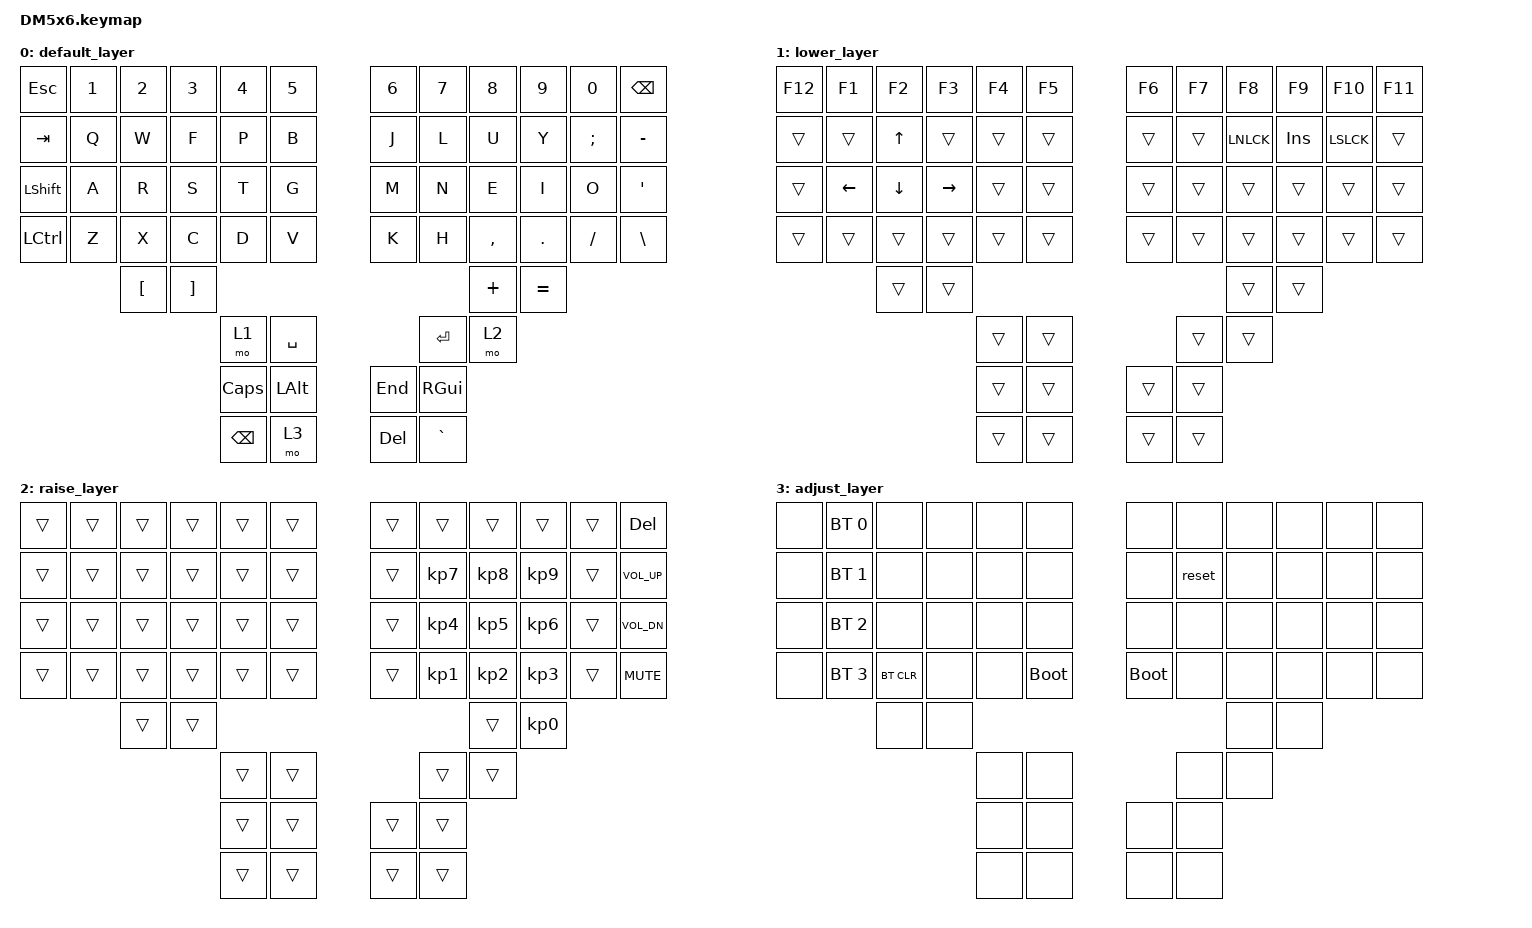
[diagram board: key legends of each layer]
#include <behaviors.dtsi>
#include <dt-bindings/zmk/keys.h>
#include <dt-bindings/zmk/bt.h>

#define DEFAULT 0
#define LWR 1
#define RSE 2
#define ADJ 3

/ {
    keymap {
        compatible = "zmk,keymap";

        default_layer {
            bindings = <
                &kp ESC   &kp N1 &kp N2 &kp N3 &kp N4 &kp N5              &kp N6 &kp N7 &kp N8    &kp N9  &kp N0   &kp BSPC
                &kp TAB   &kp Q  &kp W  &kp F  &kp P  &kp B               &kp J  &kp L  &kp U     &kp Y   &kp SEMI &kp MINUS
                &kp LSHFT &kp A  &kp R  &kp S  &kp T  &kp G               &kp M  &kp N  &kp E     &kp I   &kp O    &kp SQT
                &kp LCTRL &kp Z  &kp X  &kp C  &kp D  &kp V               &kp K  &kp H  &kp COMMA &kp DOT &kp FSLH &kp BSLH
                                 &kp LBKT &kp RBKT                                      &kp PLUS  &kp EQUAL
                                            &mo 1     &kp SPACE           &kp ENTER  &mo 2
                                            &kp CAPS  &kp LALT           &kp END  &kp RGUI
                                            &kp BSPC  &mo 3              &kp DEL  &kp GRAVE
            >;
        };

        lower_layer {
            bindings = <
                &kp F12 &kp F1   &kp F2   &kp F3    &kp F4 &kp F5                &kp F6  &kp F7 &kp F8    &kp F9  &kp F10    &kp F11
                &trans  &trans   &kp UP   &trans    &trans &trans                &trans  &trans &kp LNLCK &kp INS &kp LSLCK  &trans
                &trans  &kp LEFT &kp DOWN &kp RIGHT &trans &trans                &trans  &trans &trans    &trans  &trans     &trans
                &trans  &trans   &trans   &trans    &trans &trans                &trans  &trans &trans    &trans  &trans     &trans
                                 &trans   &trans                                                &trans    &trans
                                                 &trans &trans                   &trans &trans
                                                 &trans &trans                   &trans &trans
                                                 &trans &trans                   &trans &trans
            >;
        };

        raise_layer {
            bindings = <
                &trans  &trans &trans &trans &trans &trans                &trans &trans    &trans    &trans    &trans &kp DEL
                &trans  &trans &trans &trans &trans &trans                &trans &kp KP_N7 &kp KP_N8 &kp KP_N9 &trans &kp K_VOL_UP
                &trans  &trans &trans &trans &trans &trans                &trans &kp KP_N4 &kp KP_N5 &kp KP_N6 &trans &kp K_VOL_DN
                &trans  &trans &trans &trans &trans &trans                &trans &kp KP_N1 &kp KP_N2 &kp KP_N3 &trans &kp K_MUTE
                               &trans &trans                                            &trans &kp KP_N0
                                             &trans  &trans               &trans &trans
                                             &trans  &trans               &trans &trans
                                             &trans  &trans               &trans &trans
            >;
        };

        adjust_layer {
            bindings = <
                &none &bt BT_SEL 0 &none        &none &none  &none            &none       &none  &none &none &none &none
                &none &bt BT_SEL 1 &none        &none &none  &none            &none       &reset &none &none &none &none
                &none &bt BT_SEL 2 &none        &none &none  &none            &none       &none  &none &none &none &none
                &none &bt BT_SEL 3 &bt BT_CLR   &none &none  &bootloader      &bootloader &none  &none &none &none &none
                                   &none        &none                                            &none &none
                                                      &none &none             &none &none
                                                      &none &none             &none &none
                                                      &none &none             &none &none
            >;
        };
    };
};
